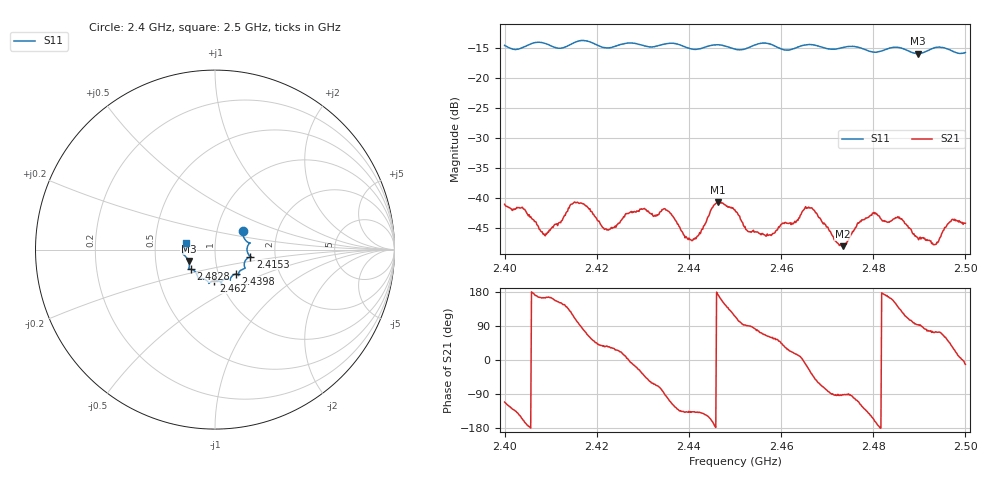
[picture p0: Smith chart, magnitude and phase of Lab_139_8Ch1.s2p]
# Hz S RI R 50
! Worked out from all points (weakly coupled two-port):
!   601 points, 2.4 GHz to 2.5 GHz, reference 50 ohm
!   highest |S21| = -40.68 dB at 2.4463 GHz (marker M1); lowest = -48.1 dB at 2.4733 GHz (marker M2)
!   lowest |S11| = -15.9 dB at 2.4897 GHz (marker M3), VSWR 1.38, Z = 36.9 - j4.83 ohm
!   |S11| at or under -10 dB: start of sweep to end of sweep
!   S12 and S22 are empty: the file has one direction only
!   S11 on the Smith chart (normalised r, x): 2.4 GHz: 1.33, +0.29; 2.4153 GHz: 1.48, -0.12; 2.4398 GHz: 1.21, -0.34; 2.462 GHz: 0.93, -0.33; 2.4828 GHz: 0.74, -0.17; 2.5 GHz: 0.72, +0.06
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2.4e9  0.1552 0.1064  -0.00315 -0.00825  0 0  0 0
2.408833e9  0.1923 0.035  -0.00462 0.00135  0 0  0 0
2.415333e9  0.1967 -0.0386  -0.0029 0.00869  0 0  0 0
2.416667e9  0.2023 -0.0429  0.000554 0.00901  0 0  0 0
2.422167e9  0.1668 -0.0661  0.0043 0.00325  0 0  0 0
2.427e9  0.1683 -0.1028  0.00746 -0.000147  0 0  0 0
2.433333e9  0.1311 -0.1336  0.00259 -0.00676  0 0  0 0
2.435667e9  0.1319 -0.1449  -0.00207 -0.00738  0 0  0 0
2.439833e9  0.1155 -0.1363  -0.00333 -0.00299  0 0  0 0
2.446333e9  0.0848 -0.1706  -0.00916 0.00126  0 0  0 0
2.45e9  0.0648 -0.1627  -0.00339 0.00716  0 0  0 0
2.453167e9  0.0372 -0.1779  5.04e-05 0.0052  0 0  0 0
2.462e9  -0.00515 -0.1729  0.00569 0.00244  0 0  0 0
2.466667e9  -0.0345 -0.1878  0.00659 -0.00496  0 0  0 0
2.473333e9  -0.0829 -0.1601  -8.67e-05 -0.00394  0 0  0 0
2.479667e9  -0.1072 -0.1271  -0.0062 -0.00354  0 0  0 0
2.482833e9  -0.1364 -0.1095  -0.00621 0.00117  0 0  0 0
2.483333e9  -0.1402 -0.1092  -0.00612 0.00143  0 0  0 0
2.489667e9  -0.1473 -0.0637  -0.000244 0.00462  0 0  0 0
2.4935e9  -0.179 -0.0247  0.00109 0.00393  0 0  0 0
2.496833e9  -0.1709 -0.00908  0.00485 0.00407  0 0  0 0
2.5e9  -0.1595 0.0389  0.006 -0.00124  0 0  0 0
